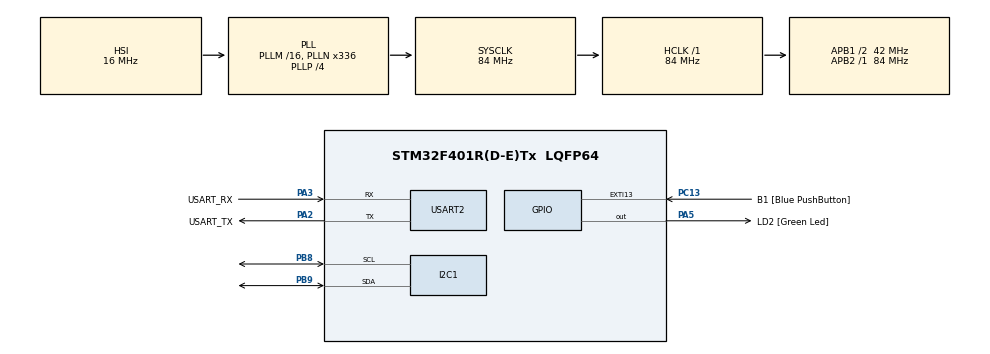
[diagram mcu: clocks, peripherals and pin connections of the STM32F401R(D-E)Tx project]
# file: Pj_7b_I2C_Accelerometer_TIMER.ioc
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Dma.Request0=USART2_TX
Dma.USART2_TX.0.Direction=DMA_MEMORY_TO_PERIPH
Dma.USART2_TX.0.FIFOMode=DMA_FIFOMODE_DISABLE
Dma.USART2_TX.0.Instance=DMA1_Stream6
Dma.USART2_TX.0.MemDataAlignment=DMA_MDATAALIGN_BYTE
Dma.USART2_TX.0.MemInc=DMA_MINC_ENABLE
Dma.USART2_TX.0.Mode=DMA_NORMAL
Dma.USART2_TX.0.PeriphDataAlignment=DMA_PDATAALIGN_BYTE
Dma.USART2_TX.0.PeriphInc=DMA_PINC_DISABLE
Dma.USART2_TX.0.Priority=DMA_PRIORITY_HIGH
Mcu.Family=STM32F4
Mcu.Name=STM32F401R(D-E)Tx
Mcu.Package=LQFP64
NVIC.DMA1_Stream6_IRQn=true\:1\:0\:true\:false\:true\:false\:true\:true
NVIC.PriorityGroup=NVIC_PRIORITYGROUP_1
NVIC.TIM2_IRQn=true\:0\:0\:false\:false\:true\:true\:true\:true
NVIC.USART2_IRQn=true\:0\:0\:false\:false\:true\:true\:true\:true
PA13.GPIO_Label=TMS
PA13.Mode=Serial_Wire
PA13.Signal=SYS_JTMS-SWDIO
PA14.GPIO_Label=TCK
PA14.Mode=Serial_Wire
PA14.Signal=SYS_JTCK-SWCLK
PA2.GPIO_Label=USART_TX
PA2.GPIO_Mode=GPIO_MODE_AF_PP
PA2.GPIO_PuPd=GPIO_NOPULL
PA2.GPIO_Speed=GPIO_SPEED_FREQ_LOW
PA2.Mode=Asynchronous
PA2.Signal=USART2_TX
PA3.GPIO_Label=USART_RX
PA3.GPIO_Mode=GPIO_MODE_AF_PP
PA3.GPIO_PuPd=GPIO_NOPULL
PA3.GPIO_Speed=GPIO_SPEED_FREQ_LOW
PA3.Mode=Asynchronous
PA3.Signal=USART2_RX
PA5.GPIO_Label=LD2 [Green Led]
PA5.GPIO_Mode=GPIO_MODE_OUTPUT_PP
PA5.GPIO_PuPd=GPIO_NOPULL
PA5.GPIO_Speed=GPIO_SPEED_FREQ_LOW
PA5.Signal=GPIO_Output
PB3.GPIO_Label=SWO
PB3.Signal=SYS_JTDO-SWO
PB8.Mode=I2C
PB8.Signal=I2C1_SCL
PB9.Mode=I2C
PB9.Signal=I2C1_SDA
PC13-ANTI_TAMP.GPIO_Label=B1 [Blue PushButton]
PC13-ANTI_TAMP.GPIO_ModeDefaultEXTI=GPIO_MODE_IT_FALLING
PC13-ANTI_TAMP.GPIO_PuPd=GPIO_NOPULL
PC13-ANTI_TAMP.Signal=GPXTI13
PC14-OSC32_IN.Mode=LSE-External-Oscillator
PC14-OSC32_IN.Signal=RCC_OSC32_IN
PC15-OSC32_OUT.Mode=LSE-External-Oscillator
PC15-OSC32_OUT.Signal=RCC_OSC32_OUT
PH0\ -\ OSC_IN.Mode=HSE-External-Clock-Source
PH0\ -\ OSC_IN.Signal=RCC_OSC_IN
PH1\ -\ OSC_OUT.Mode=HSE-External-Clock-Source
PH1\ -\ OSC_OUT.Signal=RCC_OSC_OUT
ProjectManager.HeapSize=0x200
ProjectManager.StackSize=0x400
ProjectManager.TargetToolchain=STM32CubeIDE
RCC.48MHZClocksFreq_Value=48000000
RCC.AHBFreq_Value=84000000
RCC.APB1CLKDivider=RCC_HCLK_DIV2
RCC.APB1Freq_Value=42000000
RCC.APB1TimFreq_Value=84000000
RCC.APB2Freq_Value=84000000
RCC.APB2TimFreq_Value=84000000
RCC.CortexFreq_Value=84000000
RCC.HCLKFreq_Value=84000000
RCC.HSE_VALUE=8000000
RCC.HSI_VALUE=16000000
RCC.PLLN=336
RCC.PLLP=RCC_PLLP_DIV4
RCC.PLLQ=7
RCC.SYSCLKFreq_VALUE=84000000
RCC.SYSCLKSource=RCC_SYSCLKSOURCE_PLLCLK
RCC.VCOOutputFreq_Value=336000000
TIM2.Period=10000-1
TIM2.Prescaler=8400-1
USART2.VirtualMode=VM_ASYNC
VP_TIM2_VS_ClockSourceINT.Mode=Internal
board=NUCLEO-F401RE

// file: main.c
/* USER CODE BEGIN Header */
/**
  ******************************************************************************
  * @file           : main.c
  * @brief          : Main program body
  ******************************************************************************
  * @attention
  *
  * Copyright (c) 2024 STMicroelectronics.
  * All rights reserved.
  *
  * This software is licensed under terms that can be found in the LICENSE file
  * in the root directory of this software component.
  * If no LICENSE file comes with this software, it is provided AS-IS.
  *
  ******************************************************************************
  */
/* USER CODE END Header */
#include "main.h"

/* USER CODE BEGIN Includes */

#include "stdio.h"
#include "string.h"

/* USER CODE END Includes */

I2C_HandleTypeDef hi2c1;

TIM_HandleTypeDef htim2;

UART_HandleTypeDef huart2;
DMA_HandleTypeDef hdma_usart2_tx;

/* USER CODE BEGIN PV */

uint8_t LIS2DE_ADDRESS = 0b01010000;

uint8_t CTRL_REG1[] = {0x20, 0b00010111};
uint8_t CTRL_REG2[] = {0x21, 0b00000000};
uint8_t CTRL_REG4[] = {0x23, 0b00000000};

uint8_t OUT_X_ADDRESS = 0x29;
uint8_t OUT_Y_ADDRESS = 0x2B;
uint8_t OUT_Z_ADDRESS = 0x2D;

char string[64];
int length = 0;

/* USER CODE END PV */

void SystemClock_Config(void);
static void MX_GPIO_Init(void);
static void MX_DMA_Init(void);
static void MX_USART2_UART_Init(void);
static void MX_I2C1_Init(void);
static void MX_TIM2_Init(void);

/* USER CODE BEGIN 0 */

void HAL_TIM_PeriodElapsedCallback(TIM_HandleTypeDef *htim){
	if(htim == &htim2){

		//Get x
		int8_t acc_x = 0;
		HAL_I2C_Master_Transmit(&hi2c1, LIS2DE_ADDRESS, &OUT_X_ADDRESS, 1, 50);
		HAL_I2C_Master_Receive(&hi2c1, LIS2DE_ADDRESS+1, &acc_x, 1, 50);

		//Get y
		int8_t acc_y = 0;
		HAL_I2C_Master_Transmit(&hi2c1, LIS2DE_ADDRESS, &OUT_Y_ADDRESS, 1, 50);
		HAL_I2C_Master_Receive(&hi2c1, LIS2DE_ADDRESS+1, &acc_y, 1, 50);

		//Get z
		int8_t acc_z = 0;
		HAL_I2C_Master_Transmit(&hi2c1, LIS2DE_ADDRESS, &OUT_Z_ADDRESS, 1, 50);
		HAL_I2C_Master_Receive(&hi2c1, LIS2DE_ADDRESS+1, &acc_z, 1, 50);

		float acc_g_x = acc_x / 64.0; //sensitivity = 4/256 = 1/64
		float acc_g_y = acc_y / 64.0;
		float acc_g_z = acc_z / 64.0;

		length = snprintf(string, sizeof(string), "X: %+.2f g\r\nY: %+.2f g\r\nZ: %+.2f g\r\n\r\n", acc_g_x, acc_g_y, acc_g_z);

		HAL_UART_Transmit_DMA(&huart2, string, length);
	}
}

/* USER CODE END 0 */

int main(void)
{

  /* MCU Configuration--------------------------------------------------------*/

  /* Reset of all peripherals, Initializes the Flash interface and the Systick. */
  HAL_Init();

  /* Configure the system clock */
  SystemClock_Config();

  /* Initialize all configured peripherals */
  MX_GPIO_Init();
  MX_DMA_Init();
  MX_USART2_UART_Init();
  MX_I2C1_Init();
  MX_TIM2_Init();
  /* USER CODE BEGIN 2 */

  HAL_I2C_Master_Transmit(&hi2c1, LIS2DE_ADDRESS, CTRL_REG1, sizeof(CTRL_REG1), 50);
  HAL_I2C_Master_Transmit(&hi2c1, LIS2DE_ADDRESS, CTRL_REG2, sizeof(CTRL_REG2), 50);
  HAL_I2C_Master_Transmit(&hi2c1, LIS2DE_ADDRESS, CTRL_REG4, sizeof(CTRL_REG4), 50);
  HAL_TIM_Base_Start_IT(&htim2); //start the timer

  /* USER CODE END 2 */

  /* Infinite loop */
  while (1)
  {

  }
}

void SystemClock_Config(void)
{
  RCC_OscInitTypeDef RCC_OscInitStruct = {0};
  RCC_ClkInitTypeDef RCC_ClkInitStruct = {0};

  /** Configure the main internal regulator output voltage
  */
  __HAL_RCC_PWR_CLK_ENABLE();
  __HAL_PWR_VOLTAGESCALING_CONFIG(PWR_REGULATOR_VOLTAGE_SCALE2);

  /** Initializes the RCC Oscillators according to the specified parameters
  * in the RCC_OscInitTypeDef structure.
  */
  RCC_OscInitStruct.OscillatorType = RCC_OSCILLATORTYPE_HSI;
  RCC_OscInitStruct.HSIState = RCC_HSI_ON;
  RCC_OscInitStruct.HSICalibrationValue = RCC_HSICALIBRATION_DEFAULT;
  RCC_OscInitStruct.PLL.PLLState = RCC_PLL_ON;
  RCC_OscInitStruct.PLL.PLLSource = RCC_PLLSOURCE_HSI;
  RCC_OscInitStruct.PLL.PLLM = 16;
  RCC_OscInitStruct.PLL.PLLN = 336;
  RCC_OscInitStruct.PLL.PLLP = RCC_PLLP_DIV4;
  RCC_OscInitStruct.PLL.PLLQ = 7;
  if (HAL_RCC_OscConfig(&RCC_OscInitStruct) != HAL_OK)
  {
    Error_Handler();
  }

  /** Initializes the CPU, AHB and APB buses clocks
  */
  RCC_ClkInitStruct.ClockType = RCC_CLOCKTYPE_HCLK|RCC_CLOCKTYPE_SYSCLK
                              |RCC_CLOCKTYPE_PCLK1|RCC_CLOCKTYPE_PCLK2;
  RCC_ClkInitStruct.SYSCLKSource = RCC_SYSCLKSOURCE_PLLCLK;
  RCC_ClkInitStruct.AHBCLKDivider = RCC_SYSCLK_DIV1;
  RCC_ClkInitStruct.APB1CLKDivider = RCC_HCLK_DIV2;
  RCC_ClkInitStruct.APB2CLKDivider = RCC_HCLK_DIV1;

  if (HAL_RCC_ClockConfig(&RCC_ClkInitStruct, FLASH_LATENCY_2) != HAL_OK)
  {
    Error_Handler();
  }
}

static void MX_I2C1_Init(void)
{

  hi2c1.Instance = I2C1;
  hi2c1.Init.ClockSpeed = 100000;
  hi2c1.Init.DutyCycle = I2C_DUTYCYCLE_2;
  hi2c1.Init.OwnAddress1 = 0;
  hi2c1.Init.AddressingMode = I2C_ADDRESSINGMODE_7BIT;
  hi2c1.Init.DualAddressMode = I2C_DUALADDRESS_DISABLE;
  hi2c1.Init.OwnAddress2 = 0;
  hi2c1.Init.GeneralCallMode = I2C_GENERALCALL_DISABLE;
  hi2c1.Init.NoStretchMode = I2C_NOSTRETCH_DISABLE;
  if (HAL_I2C_Init(&hi2c1) != HAL_OK)
  {
    Error_Handler();
  }

}

static void MX_TIM2_Init(void)
{

  TIM_ClockConfigTypeDef sClockSourceConfig = {0};
  TIM_MasterConfigTypeDef sMasterConfig = {0};

  htim2.Instance = TIM2;
  htim2.Init.Prescaler = 8400-1;
  htim2.Init.CounterMode = TIM_COUNTERMODE_UP;
  htim2.Init.Period = 10000-1;
  htim2.Init.ClockDivision = TIM_CLOCKDIVISION_DIV1;
  htim2.Init.AutoReloadPreload = TIM_AUTORELOAD_PRELOAD_DISABLE;
  if (HAL_TIM_Base_Init(&htim2) != HAL_OK)
  {
    Error_Handler();
  }
  sClockSourceConfig.ClockSource = TIM_CLOCKSOURCE_INTERNAL;
  if (HAL_TIM_ConfigClockSource(&htim2, &sClockSourceConfig) != HAL_OK)
  {
    Error_Handler();
  }
  sMasterConfig.MasterOutputTrigger = TIM_TRGO_RESET;
  sMasterConfig.MasterSlaveMode = TIM_MASTERSLAVEMODE_DISABLE;
  if (HAL_TIMEx_MasterConfigSynchronization(&htim2, &sMasterConfig) != HAL_OK)
  {
    Error_Handler();
  }

}

static void MX_USART2_UART_Init(void)
{

  huart2.Instance = USART2;
  huart2.Init.BaudRate = 115200;
  huart2.Init.WordLength = UART_WORDLENGTH_8B;
  huart2.Init.StopBits = UART_STOPBITS_1;
  huart2.Init.Parity = UART_PARITY_NONE;
  huart2.Init.Mode = UART_MODE_TX_RX;
  huart2.Init.HwFlowCtl = UART_HWCONTROL_NONE;
  huart2.Init.OverSampling = UART_OVERSAMPLING_16;
  if (HAL_UART_Init(&huart2) != HAL_OK)
  {
    Error_Handler();
  }

}

static void MX_DMA_Init(void)
{

  /* DMA controller clock enable */
  __HAL_RCC_DMA1_CLK_ENABLE();

  /* DMA interrupt init */
  /* DMA1_Stream6_IRQn interrupt configuration */
  HAL_NVIC_SetPriority(DMA1_Stream6_IRQn, 1, 0);
  HAL_NVIC_EnableIRQ(DMA1_Stream6_IRQn);

}

static void MX_GPIO_Init(void)
{
  GPIO_InitTypeDef GPIO_InitStruct = {0};

  /* GPIO Ports Clock Enable */
  __HAL_RCC_GPIOC_CLK_ENABLE();
  __HAL_RCC_GPIOH_CLK_ENABLE();
  __HAL_RCC_GPIOA_CLK_ENABLE();
  __HAL_RCC_GPIOB_CLK_ENABLE();

  /*Configure GPIO pin Output Level */
  HAL_GPIO_WritePin(LD2_GPIO_Port, LD2_Pin, GPIO_PIN_RESET);

  /*Configure GPIO pin : B1_Pin */
  GPIO_InitStruct.Pin = B1_Pin;
  GPIO_InitStruct.Mode = GPIO_MODE_IT_FALLING;
  GPIO_InitStruct.Pull = GPIO_NOPULL;
  HAL_GPIO_Init(B1_GPIO_Port, &GPIO_InitStruct);

  /*Configure GPIO pin : LD2_Pin */
  GPIO_InitStruct.Pin = LD2_Pin;
  GPIO_InitStruct.Mode = GPIO_MODE_OUTPUT_PP;
  GPIO_InitStruct.Pull = GPIO_NOPULL;
  GPIO_InitStruct.Speed = GPIO_SPEED_FREQ_LOW;
  HAL_GPIO_Init(LD2_GPIO_Port, &GPIO_InitStruct);

}

void Error_Handler(void)
{
  __disable_irq();
  while (1)
  {
  }
}
